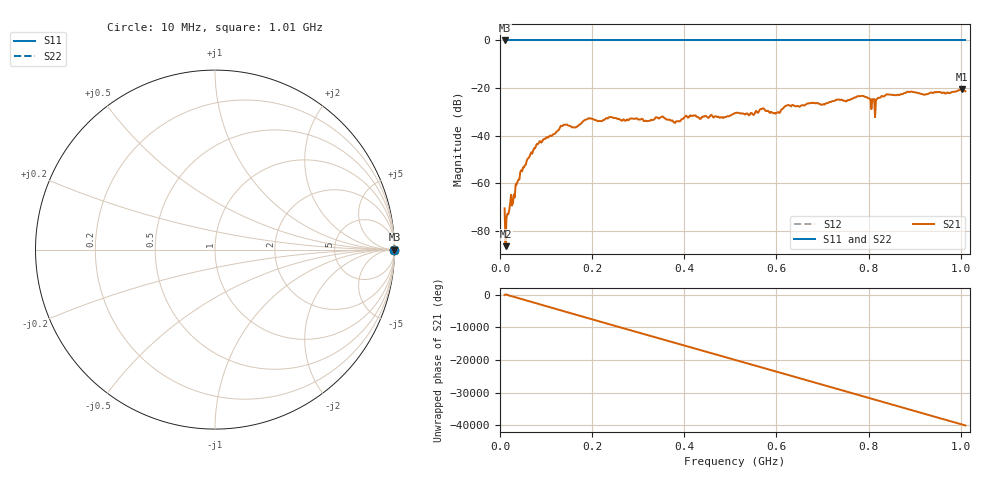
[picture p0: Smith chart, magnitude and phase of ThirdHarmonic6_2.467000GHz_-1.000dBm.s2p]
! 8/17/2025 4:30:55 AM
! C:\ANRITSUVNA\TEMP\TEMP.S2P
! CHANNEL.1
! TR.MEASUREMENT
! RAW.DATA
! RF.CORRECTION.OFF
! AVERAGING.OFF
! IF.BANDWIDTH: 5KHZ
! SWEEPTYPE:  FREQ.SWEEP(Linear)
! Reference Plane Port Info
! PORT:  PORT1  PORT2
! DISTANCE:  0  m  0  m
! TIME:  0  s  0  s
! PHASE.OFFSET:  0  deg.  0  deg.
! LOSS:  0  dB  0  dB
! REF.LOSS:  0  dB  0  dB
! REF.FREQ:  0  Hz  0  Hz
! Power Info
! POWER:  -20  dBm  -20  dBm
! EFF.POWER:  -20  dBm  -20  dBm
! SOURCE.ATTEN:  0  dB  0  dB
! TEST.ATTEN:  0  dB  0  dB
# GHZ S RI R 50.0
! FREQ.GHZ  S11RE  S11IM  S21RE  S21IM  S12RE  S12IM  S22RE  S22IM
!; PortSelection: Port_12
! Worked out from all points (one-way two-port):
!   501 points, 10 MHz to 1.01 GHz, reference 50 ohm
!   highest |S21| = -20.60 dB at 1.002 GHz (marker M1); lowest = -86.5 dB at 12 MHz (marker M2)
!   lowest |S11| = 0.0 dB at 10 MHz (marker M3)
!   |S11| at or under -10 dB: nowhere
!   |S22| runs from 0.0 to 0.0 dB; largest |S21 - S12| = 1.1
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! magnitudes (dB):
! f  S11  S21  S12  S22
! 10 MHz  0.0  -70.6  0.0  0.0
! 12 MHz  0.0  -86.5  0.0  0.0
! 16 MHz  0.0  -72.8  0.0  0.0
! 20 MHz  0.0  -71.4  0.0  0.0
! 48 MHz  0.0  -55.0  0.0  0.0
! 82 MHz  0.0  -43.6  0.0  0.0
! 136 MHz  0.0  -35.9  0.0  0.0
! 162 MHz  0.0  -36.5  0.0  0.0
! 178 MHz  0.0  -34.4  0.0  0.0
! 344 MHz  0.0  -32.8  0.0  0.0
! 382 MHz  0.0  -34.0  0.0  0.0
! 416 MHz  0.0  -31.8  0.0  0.0
! 510 MHz  0.0  -30.5  0.0  0.0
! 570 MHz  0.0  -28.5  0.0  0.0
! 596 MHz  0.0  -30.5  0.0  0.0
! 622 MHz  0.0  -27.3  0.0  0.0
! 678 MHz  0.0  -26.3  0.0  0.0
! 786 MHz  0.0  -23.3  0.0  0.0
! 810 MHz  0.0  -24.7  0.0  0.0
! 844 MHz  0.0  -22.7  0.0  0.0
! 1.002 GHz  0.0  -20.6  0.0  0.0
! 1.01 GHz  0.0  -21.3  0.0  0.0
